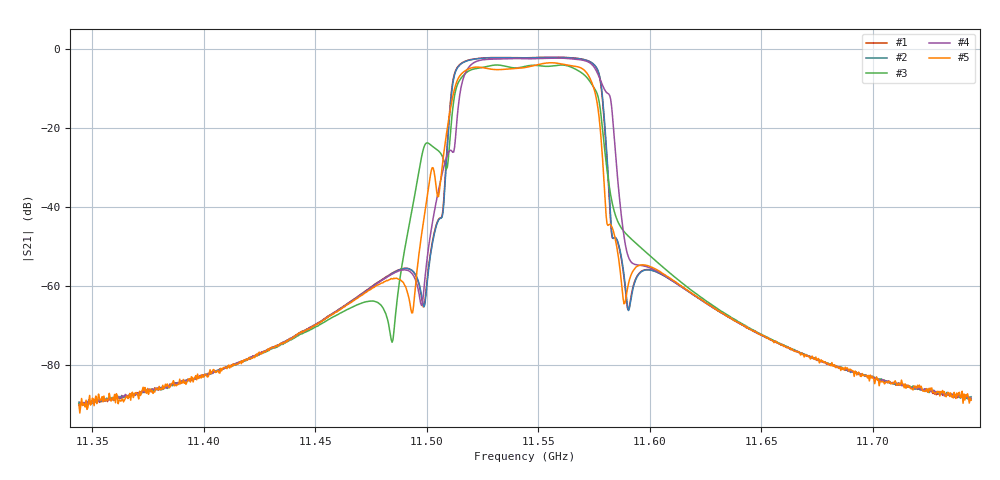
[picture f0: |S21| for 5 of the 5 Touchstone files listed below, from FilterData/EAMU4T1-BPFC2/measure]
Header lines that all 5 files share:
#  HZ  S  RI  R  50.00
! Rohde & Schwarz ZVA50 2Ports - Version 3.70 - 1145.1110k50 SN: 100192
! Measurements: S11 S21 S12 S22
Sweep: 11.344 GHz to 11.744 GHz
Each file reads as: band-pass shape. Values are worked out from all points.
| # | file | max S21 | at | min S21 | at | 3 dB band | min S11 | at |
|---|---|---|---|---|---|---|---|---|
| 1 | AMU4_T1_Ch2_Measur_Alum.s2p | -2.01 dB | 11.559 GHz | -90.0 dB | 11.347 GHz | 11.514 GHz-11.576 GHz | -46.0 dB | 11.57 GHz |
| 2 | AMU4_T1_Ch2_Measur_Initial.s2p | -2.06 dB | 11.559 GHz | -90.1 dB | 11.346 GHz | 11.514 GHz-11.576 GHz | -48.4 dB | 11.518 GHz |
| 3 | AMU4_T1_Ch2_Measur_Res3_var.s2p | -3.97 dB | 11.531 GHz | -89.9 dB | 11.348 GHz | 11.516 GHz-11.571 GHz | -12.6 dB | 11.499 GHz |
| 4 | AMU4_T1_Ch2_Measur_Res5_var.s2p | -2.23 dB | 11.559 GHz | -90.1 dB | 11.344 GHz | 11.518 GHz-11.576 GHz | -16.5 dB | 11.553 GHz |
| 5 | AMU4_T1_Ch2_Measur_Res7_var.s2p | -3.41 dB | 11.556 GHz | -92.2 dB | 11.344 GHz | 11.515 GHz-11.572 GHz | -12.6 dB | 11.577 GHz |
